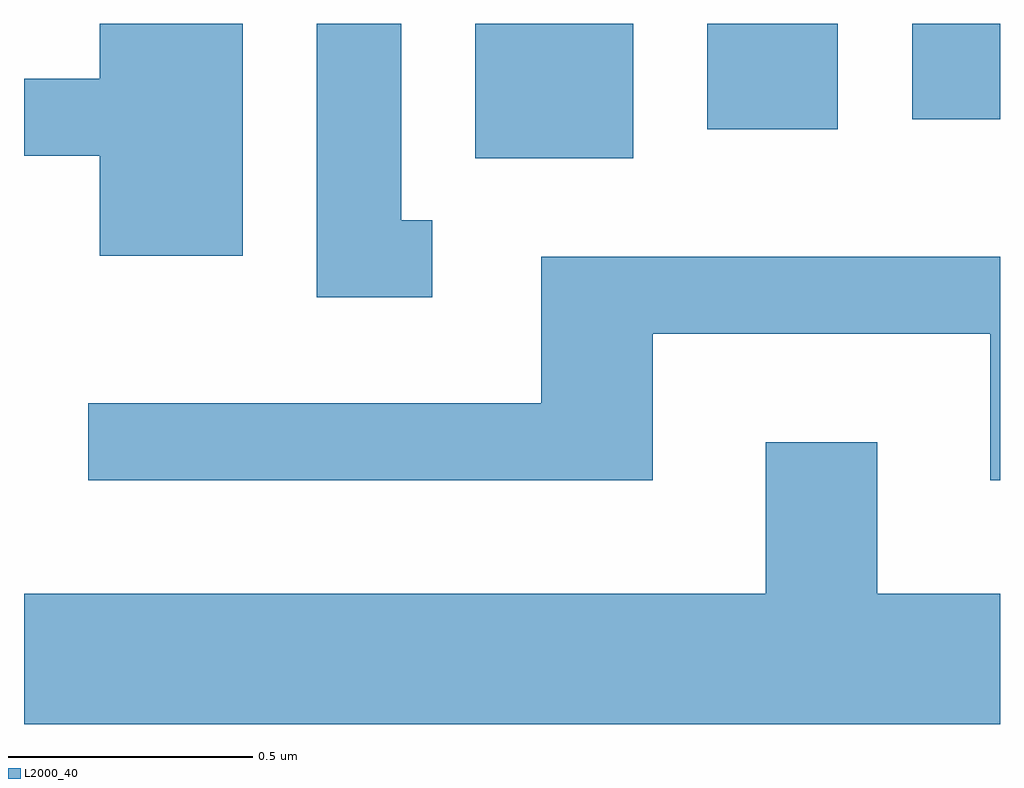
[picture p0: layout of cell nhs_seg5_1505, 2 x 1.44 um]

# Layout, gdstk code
import gdstk
lib = gdstk.Library(unit=1e-6, precision=1e-09)
def R(c, l, rs):  # rectangles x0, y0, x1, y1
    for r in rs: c.add(gdstk.rectangle(r[:2], r[2:], *l))
def P(c, l, *ps):  # polygons
    for p in ps: c.add(gdstk.Polygon(p, *l))
L2000_40 = (2000, 40)

nhs_seg5_1505 = lib.new_cell('nhs_seg5_1505')
R(nhs_seg5_1505, L2000_40, [(197.536,1395.796,197.859,1396.072), (198.011,1395.856,198.279,1396.072), (198.431,1395.876,198.611,1396.072)])
P(nhs_seg5_1505, L2000_40, [(197.059,1396.072),(196.766,1396.072),(196.766,1395.959),(196.611,1395.959),(196.611,1395.801),(196.766,1395.801),(196.766,1395.596),(197.059,1395.596)],
  [(197.448,1395.669),(197.384,1395.669),(197.384,1396.072),(197.211,1396.072),(197.211,1395.511),(197.448,1395.511)],
  [(197.899,1395.436),(198.591,1395.436),(198.591,1395.136),(198.611,1395.136),(198.611,1395.594),(197.671,1395.594),(197.671,1395.294),(196.743,1395.294),(196.743,1395.136),(197.899,1395.136)],
  [(198.611,1394.904),(198.359,1394.904),(198.359,1395.214),(198.131,1395.214),(198.131,1394.904),(196.611,1394.904),(196.611,1394.636),(198.611,1394.636)])

lib.write_gds('nhs_seg5_1505.gds')
